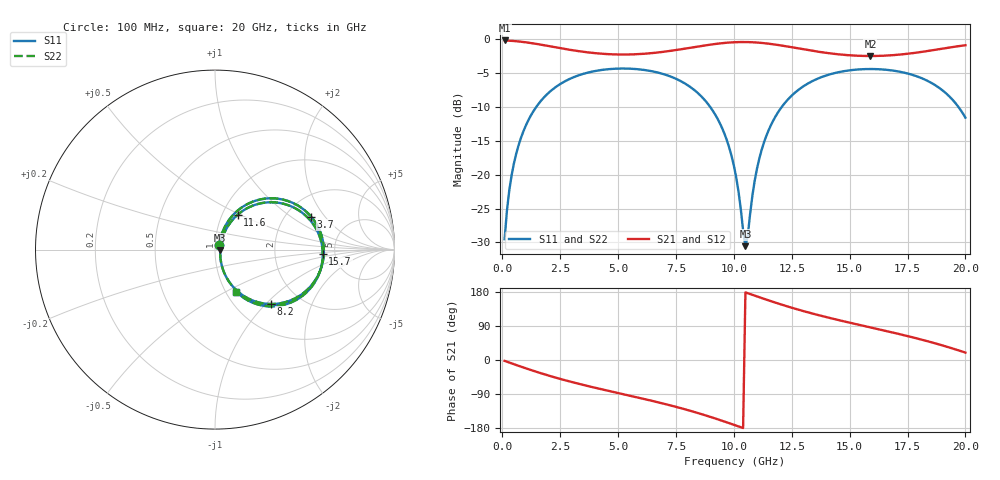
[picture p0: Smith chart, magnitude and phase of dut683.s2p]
! Touchstone file exported from HFSS 2026.1.0
!  File:  C:/ffzhzh/LocalFiles/Ansys_Project_Files/temp_train_TSV_RDL_683_1783134007_50312.aedt
!  Generated:  11:17:41 AM Jul  4, 2026
!  Design:  TSV_RDL
!  Project:  temp_train_TSV_RDL_683_1783134007_50312
! Variables:
!  h_bsmrdl = 5.48um
!  h_ox = 20um
!  h_rdl = 5um
!  h_sub = 91.72um
!  h_tmrdl = 3.65um
!  h_tsv = 91.72um
!  h_via = 3um
!  l_bsmrdl = 858.06um
!  l_sub = 5825.9um
!  l_tmrdl = 680.95um
!  m_sub = 200um
!  pitch = 59.18um
!  r_tsv = 8.13um
!  s_tmrdl = 10um
!  w_bsmrdl = 14.6um
!  w_sub = 500um
!  w_tmrdl = 28.04um
!  x_tsv_center1 = 694.97um
!  x_tsv_center2 = 1567.63um
!  x_tsv_center3 = 2276.62um
!  x_tsv_center4 = 3149.28um
!  x_tsv_center5 = 3858.27um
!  x_tsv_center6 = 4730.93um
# GHz S MA R 50.000000
! Terminal data exported
! Port[1] = TM_RDL1_1_T1
! Port[2] = TM_RDL5_1_T1
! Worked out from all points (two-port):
!   200 points, 100 MHz to 20 GHz, reference 50 ohm
!   highest |S21| = -0.20 dB at 100 MHz (marker M1); lowest = -2.5 dB at 15.9 GHz (marker M2)
!   |S21| within 3 dB of the highest: start of sweep to end of sweep
!   lowest |S11| = -30.5 dB at 10.5 GHz (marker M3), VSWR 1.06, Z = 53 - j0.487 ohm
!   |S11| at or under -10 dB: start of sweep to 1.47 GHz; 8.976 GHz to 12.07 GHz (3.095 GHz wide, 29.4 % of centre); 19.7 GHz to end of sweep
!   |S22| runs from -30.5 to -4.3 dB; largest |S21 - S12| = 1.7e-14
!   S11 on the Smith chart (normalised r, x): 100 MHz: 1.05, +0.05; 3.7 GHz: 2.73, +1.47; 8.2 GHz: 1.43, -1.07; 11.6 GHz: 1.18, +0.48; 15.7 GHz: 3.99, -0.32; 20 GHz: 1.12, -0.57
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0.1  0.03343 45.7  0.9773 -2.3  0.9773 -2.3  0.03343 45.7
! Gamma 0 0 0 0
! Port Impedance 50 0 50 0
0.3  0.07627 64.9  0.9733 -6.7  0.9733 -6.7  0.07627 64.9
0.5  0.1206 66.9  0.9679 -11.0  0.9679 -11.0  0.1206 66.9
1.1  0.2471 60.2  0.9428 -23.7  0.9428 -23.7  0.2471 60.2
2.1  0.4157 43.4  0.8827 -42.9  0.8827 -42.9  0.4157 43.4
3.5  0.5545 21.7  0.806 -65.8  0.806 -65.8  0.5545 21.7
3.7  0.5664 18.9  0.7981 -68.8  0.7981 -68.8  0.5664 18.9
5.2  0.6067 -1.5  0.7695 -89.9  0.7695 -89.9  0.6067 -1.5
6.8  0.5619 -23.2  0.7997 -112.7  0.7997 -112.7  0.5619 -23.2
8.2  0.4333 -44.4  0.8678 -135.5  0.8678 -135.5  0.4332 -44.4
9.4  0.2388 -63.5  0.9297 -158.4  0.9297 -158.4  0.2388 -63.5
10.1  0.09593 -67.0  0.9494 -173.1  0.9494 -173.1  0.09595 -66.9
10.5  0.02969 -8.9  0.9513 178.4  0.9513 178.4  0.02972 -8.9
11  0.1108 60.9  0.9434 167.7  0.9434 167.7  0.1108 60.9
11.6  0.2316 57.0  0.9208 155.3  0.9208 155.3  0.2316 57.0
12.4  0.3685 44.7  0.8771 139.8  0.8771 139.8  0.3685 44.7
13.4  0.4908 29.2  0.8199 122.5  0.8199 122.5  0.4908 29.2
15.7  0.6011 -2.4  0.7509 88.7  0.7509 88.7  0.6011 -2.4
15.9  0.6017 -5.0  0.7504 86.0  0.7504 86.0  0.6017 -5.0
16.7  0.5911 -15.5  0.7579 74.8  0.7579 74.8  0.591 -15.4
18.5  0.4787 -40.8  0.8235 47.3  0.8235 47.3  0.4786 -40.7
20  0.2634 -63.1  0.901 19.6  0.901 19.6  0.2634 -63.0
